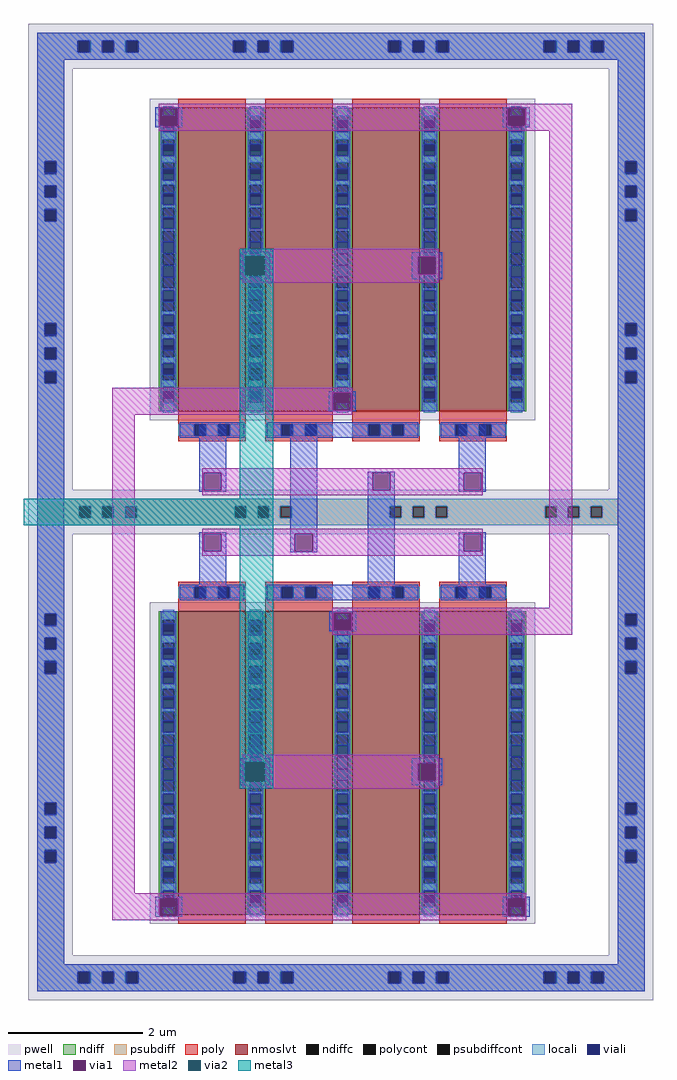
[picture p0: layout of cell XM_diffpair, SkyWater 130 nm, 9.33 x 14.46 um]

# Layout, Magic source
magic
tech sky130A
magscale 1 2
<< pwell >>
rect -346 1454 1506 1586
rect -346 206 -214 1454
rect 1374 206 1506 1454
rect -346 74 1506 206
rect -346 -1174 -214 74
rect 1374 -1174 1506 74
rect -346 -1306 1506 -1174
<< psubdiff >>
rect -320 1537 1480 1560
rect -320 1503 -195 1537
rect -161 1503 -127 1537
rect -93 1503 -59 1537
rect -25 1503 265 1537
rect 299 1503 333 1537
rect 367 1503 401 1537
rect 435 1503 725 1537
rect 759 1503 793 1537
rect 827 1503 861 1537
rect 895 1503 1185 1537
rect 1219 1503 1253 1537
rect 1287 1503 1321 1537
rect 1355 1503 1480 1537
rect -320 1480 1480 1503
rect -320 1175 -240 1480
rect -320 1141 -297 1175
rect -263 1141 -240 1175
rect -320 1107 -240 1141
rect -320 1073 -297 1107
rect -263 1073 -240 1107
rect -320 1039 -240 1073
rect -320 1005 -297 1039
rect -263 1005 -240 1039
rect -320 695 -240 1005
rect -320 661 -297 695
rect -263 661 -240 695
rect -320 627 -240 661
rect -320 593 -297 627
rect -263 593 -240 627
rect -320 559 -240 593
rect -320 525 -297 559
rect -263 525 -240 559
rect -320 180 -240 525
rect 1400 1175 1480 1480
rect 1400 1141 1423 1175
rect 1457 1141 1480 1175
rect 1400 1107 1480 1141
rect 1400 1073 1423 1107
rect 1457 1073 1480 1107
rect 1400 1039 1480 1073
rect 1400 1005 1423 1039
rect 1457 1005 1480 1039
rect 1400 695 1480 1005
rect 1400 661 1423 695
rect 1457 661 1480 695
rect 1400 627 1480 661
rect 1400 593 1423 627
rect 1457 593 1480 627
rect 1400 559 1480 593
rect 1400 525 1423 559
rect 1457 525 1480 559
rect 1400 180 1480 525
rect -320 157 1480 180
rect -320 123 -195 157
rect -161 123 -127 157
rect -93 123 -59 157
rect -25 123 265 157
rect 299 123 333 157
rect 367 123 401 157
rect 435 123 725 157
rect 759 123 793 157
rect 827 123 861 157
rect 895 123 1185 157
rect 1219 123 1253 157
rect 1287 123 1321 157
rect 1355 123 1480 157
rect -320 100 1480 123
rect -320 -165 -240 100
rect -320 -199 -297 -165
rect -263 -199 -240 -165
rect -320 -233 -240 -199
rect -320 -267 -297 -233
rect -263 -267 -240 -233
rect -320 -301 -240 -267
rect -320 -335 -297 -301
rect -263 -335 -240 -301
rect -320 -725 -240 -335
rect -320 -759 -297 -725
rect -263 -759 -240 -725
rect -320 -793 -240 -759
rect -320 -827 -297 -793
rect -263 -827 -240 -793
rect -320 -861 -240 -827
rect -320 -895 -297 -861
rect -263 -895 -240 -861
rect -320 -1200 -240 -895
rect 1400 -165 1480 100
rect 1400 -199 1423 -165
rect 1457 -199 1480 -165
rect 1400 -233 1480 -199
rect 1400 -267 1423 -233
rect 1457 -267 1480 -233
rect 1400 -301 1480 -267
rect 1400 -335 1423 -301
rect 1457 -335 1480 -301
rect 1400 -725 1480 -335
rect 1400 -759 1423 -725
rect 1457 -759 1480 -725
rect 1400 -793 1480 -759
rect 1400 -827 1423 -793
rect 1457 -827 1480 -793
rect 1400 -861 1480 -827
rect 1400 -895 1423 -861
rect 1457 -895 1480 -861
rect 1400 -1200 1480 -895
rect -320 -1223 1480 -1200
rect -320 -1257 -195 -1223
rect -161 -1257 -127 -1223
rect -93 -1257 -59 -1223
rect -25 -1257 265 -1223
rect 299 -1257 333 -1223
rect 367 -1257 401 -1223
rect 435 -1257 725 -1223
rect 759 -1257 793 -1223
rect 827 -1257 861 -1223
rect 895 -1257 1185 -1223
rect 1219 -1257 1253 -1223
rect 1287 -1257 1321 -1223
rect 1355 -1257 1480 -1223
rect -320 -1280 1480 -1257
<< psubdiffcont >>
rect -195 1503 -161 1537
rect -127 1503 -93 1537
rect -59 1503 -25 1537
rect 265 1503 299 1537
rect 333 1503 367 1537
rect 401 1503 435 1537
rect 725 1503 759 1537
rect 793 1503 827 1537
rect 861 1503 895 1537
rect 1185 1503 1219 1537
rect 1253 1503 1287 1537
rect 1321 1503 1355 1537
rect -297 1141 -263 1175
rect -297 1073 -263 1107
rect -297 1005 -263 1039
rect -297 661 -263 695
rect -297 593 -263 627
rect -297 525 -263 559
rect 1423 1141 1457 1175
rect 1423 1073 1457 1107
rect 1423 1005 1457 1039
rect 1423 661 1457 695
rect 1423 593 1457 627
rect 1423 525 1457 559
rect -195 123 -161 157
rect -127 123 -93 157
rect -59 123 -25 157
rect 265 123 299 157
rect 333 123 367 157
rect 401 123 435 157
rect 725 123 759 157
rect 793 123 827 157
rect 861 123 895 157
rect 1185 123 1219 157
rect 1253 123 1287 157
rect 1321 123 1355 157
rect -297 -199 -263 -165
rect -297 -267 -263 -233
rect -297 -335 -263 -301
rect -297 -759 -263 -725
rect -297 -827 -263 -793
rect -297 -895 -263 -861
rect 1423 -199 1457 -165
rect 1423 -267 1457 -233
rect 1423 -335 1457 -301
rect 1423 -759 1457 -725
rect 1423 -827 1457 -793
rect 1423 -895 1457 -861
rect -195 -1257 -161 -1223
rect -127 -1257 -93 -1223
rect -59 -1257 -25 -1223
rect 265 -1257 299 -1223
rect 333 -1257 367 -1223
rect 401 -1257 435 -1223
rect 725 -1257 759 -1223
rect 793 -1257 827 -1223
rect 861 -1257 895 -1223
rect 1185 -1257 1219 -1223
rect 1253 -1257 1287 -1223
rect 1321 -1257 1355 -1223
<< locali >>
rect -320 1537 1480 1560
rect -320 1503 -199 1537
rect -161 1503 -127 1537
rect -93 1503 -59 1537
rect -21 1503 261 1537
rect 299 1503 333 1537
rect 367 1503 401 1537
rect 439 1503 721 1537
rect 759 1503 793 1537
rect 827 1503 861 1537
rect 899 1503 1181 1537
rect 1219 1503 1253 1537
rect 1287 1503 1321 1537
rect 1359 1503 1480 1537
rect -320 1480 1480 1503
rect -320 1179 -240 1480
rect -320 1141 -297 1179
rect -263 1141 -240 1179
rect -320 1107 -240 1141
rect -320 1073 -297 1107
rect -263 1073 -240 1107
rect -320 1039 -240 1073
rect -320 1001 -297 1039
rect -263 1001 -240 1039
rect -320 699 -240 1001
rect -320 661 -297 699
rect -263 661 -240 699
rect -320 627 -240 661
rect -320 593 -297 627
rect -263 593 -240 627
rect -320 559 -240 593
rect -320 521 -297 559
rect -263 521 -240 559
rect -320 180 -240 521
rect 1400 1179 1480 1480
rect 1400 1141 1423 1179
rect 1457 1141 1480 1179
rect 1400 1107 1480 1141
rect 1400 1073 1423 1107
rect 1457 1073 1480 1107
rect 1400 1039 1480 1073
rect 1400 1001 1423 1039
rect 1457 1001 1480 1039
rect 1400 699 1480 1001
rect 1400 661 1423 699
rect 1457 661 1480 699
rect 1400 627 1480 661
rect 1400 593 1423 627
rect 1457 593 1480 627
rect 1400 559 1480 593
rect 1400 521 1423 559
rect 1457 521 1480 559
rect 1400 180 1480 521
rect -320 157 1480 180
rect -320 123 -195 157
rect -161 123 -127 157
rect -93 123 -59 157
rect -25 123 265 157
rect 299 123 333 157
rect 367 123 401 157
rect 435 123 725 157
rect 759 123 793 157
rect 827 123 861 157
rect 895 123 1185 157
rect 1219 123 1253 157
rect 1287 123 1321 157
rect 1355 123 1480 157
rect -320 100 1480 123
rect -320 -161 -240 100
rect -320 -199 -297 -161
rect -263 -199 -240 -161
rect -320 -233 -240 -199
rect -320 -267 -297 -233
rect -263 -267 -240 -233
rect -320 -301 -240 -267
rect -320 -339 -297 -301
rect -263 -339 -240 -301
rect -320 -721 -240 -339
rect -320 -759 -297 -721
rect -263 -759 -240 -721
rect -320 -793 -240 -759
rect -320 -827 -297 -793
rect -263 -827 -240 -793
rect -320 -861 -240 -827
rect -320 -899 -297 -861
rect -263 -899 -240 -861
rect -320 -1200 -240 -899
rect 1400 -161 1480 100
rect 1400 -199 1423 -161
rect 1457 -199 1480 -161
rect 1400 -233 1480 -199
rect 1400 -267 1423 -233
rect 1457 -267 1480 -233
rect 1400 -301 1480 -267
rect 1400 -339 1423 -301
rect 1457 -339 1480 -301
rect 1400 -721 1480 -339
rect 1400 -759 1423 -721
rect 1457 -759 1480 -721
rect 1400 -793 1480 -759
rect 1400 -827 1423 -793
rect 1457 -827 1480 -793
rect 1400 -861 1480 -827
rect 1400 -899 1423 -861
rect 1457 -899 1480 -861
rect 1400 -1200 1480 -899
rect -320 -1223 1480 -1200
rect -320 -1257 -199 -1223
rect -161 -1257 -127 -1223
rect -93 -1257 -59 -1223
rect -21 -1257 261 -1223
rect 299 -1257 333 -1223
rect 367 -1257 401 -1223
rect 439 -1257 721 -1223
rect 759 -1257 793 -1223
rect 827 -1257 861 -1223
rect 899 -1257 1181 -1223
rect 1219 -1257 1253 -1223
rect 1287 -1257 1321 -1223
rect 1359 -1257 1480 -1223
rect -320 -1280 1480 -1257
<< viali >>
rect -199 1503 -195 1537
rect -195 1503 -165 1537
rect -127 1503 -93 1537
rect -55 1503 -25 1537
rect -25 1503 -21 1537
rect 261 1503 265 1537
rect 265 1503 295 1537
rect 333 1503 367 1537
rect 405 1503 435 1537
rect 435 1503 439 1537
rect 721 1503 725 1537
rect 725 1503 755 1537
rect 793 1503 827 1537
rect 865 1503 895 1537
rect 895 1503 899 1537
rect 1181 1503 1185 1537
rect 1185 1503 1215 1537
rect 1253 1503 1287 1537
rect 1325 1503 1355 1537
rect 1355 1503 1359 1537
rect -297 1175 -263 1179
rect -297 1145 -263 1175
rect -297 1073 -263 1107
rect -297 1005 -263 1035
rect -297 1001 -263 1005
rect -297 695 -263 699
rect -297 665 -263 695
rect -297 593 -263 627
rect -297 525 -263 555
rect -297 521 -263 525
rect 1423 1175 1457 1179
rect 1423 1145 1457 1175
rect 1423 1073 1457 1107
rect 1423 1005 1457 1035
rect 1423 1001 1457 1005
rect 1423 695 1457 699
rect 1423 665 1457 695
rect 1423 593 1457 627
rect 1423 525 1457 555
rect 1423 521 1457 525
rect -297 -165 -263 -161
rect -297 -195 -263 -165
rect -297 -267 -263 -233
rect -297 -335 -263 -305
rect -297 -339 -263 -335
rect -297 -725 -263 -721
rect -297 -755 -263 -725
rect -297 -827 -263 -793
rect -297 -895 -263 -865
rect -297 -899 -263 -895
rect 1423 -165 1457 -161
rect 1423 -195 1457 -165
rect 1423 -267 1457 -233
rect 1423 -335 1457 -305
rect 1423 -339 1457 -335
rect 1423 -725 1457 -721
rect 1423 -755 1457 -725
rect 1423 -827 1457 -793
rect 1423 -895 1457 -865
rect 1423 -899 1457 -895
rect -199 -1257 -195 -1223
rect -195 -1257 -165 -1223
rect -127 -1257 -93 -1223
rect -55 -1257 -25 -1223
rect -25 -1257 -21 -1223
rect 261 -1257 265 -1223
rect 265 -1257 295 -1223
rect 333 -1257 367 -1223
rect 405 -1257 435 -1223
rect 435 -1257 439 -1223
rect 721 -1257 725 -1223
rect 725 -1257 755 -1223
rect 793 -1257 827 -1223
rect 865 -1257 895 -1223
rect 895 -1257 899 -1223
rect 1181 -1257 1185 -1223
rect 1185 -1257 1215 -1223
rect 1253 -1257 1287 -1223
rect 1325 -1257 1355 -1223
rect 1355 -1257 1359 -1223
<< metal1 >>
rect -320 1537 1480 1560
rect -320 1503 -199 1537
rect -165 1503 -127 1537
rect -93 1503 -55 1537
rect -21 1503 261 1537
rect 295 1503 333 1537
rect 367 1503 405 1537
rect 439 1503 721 1537
rect 755 1503 793 1537
rect 827 1503 865 1537
rect 899 1503 1181 1537
rect 1215 1503 1253 1537
rect 1287 1503 1325 1537
rect 1359 1503 1480 1537
rect -320 1480 1480 1503
rect -320 1179 -240 1480
rect 30 1336 110 1340
rect 30 1284 44 1336
rect 96 1284 110 1336
rect 30 1280 110 1284
rect 1060 1336 1140 1340
rect 1060 1284 1074 1336
rect 1126 1284 1140 1336
rect 1060 1280 1140 1284
rect -320 1145 -297 1179
rect -263 1145 -240 1179
rect -320 1107 -240 1145
rect -320 1073 -297 1107
rect -263 1073 -240 1107
rect -320 1035 -240 1073
rect -320 1001 -297 1035
rect -263 1001 -240 1035
rect -320 699 -240 1001
rect 1400 1179 1480 1480
rect 1400 1145 1423 1179
rect 1457 1145 1480 1179
rect 1400 1107 1480 1145
rect 1400 1073 1423 1107
rect 1457 1073 1480 1107
rect 1400 1035 1480 1073
rect 1400 1001 1423 1035
rect 1457 1001 1480 1035
rect 280 896 370 910
rect 280 844 299 896
rect 351 844 370 896
rect 280 830 370 844
rect 790 896 880 910
rect 790 844 809 896
rect 861 844 880 896
rect 790 830 880 844
rect -320 665 -297 699
rect -263 665 -240 699
rect -320 627 -240 665
rect -320 593 -297 627
rect -263 593 -240 627
rect -320 555 -240 593
rect -320 521 -297 555
rect -263 521 -240 555
rect -320 -161 -240 521
rect 1400 699 1480 1001
rect 1400 665 1423 699
rect 1457 665 1480 699
rect 1400 627 1480 665
rect 1400 593 1423 627
rect 1457 593 1480 627
rect 1400 555 1480 593
rect 1400 521 1423 555
rect 1457 521 1480 555
rect 544 494 624 498
rect 544 442 558 494
rect 610 442 624 494
rect 544 438 624 442
rect 160 256 240 400
rect 160 204 174 256
rect 226 204 240 256
rect 160 200 240 204
rect 160 76 240 80
rect 160 24 174 76
rect 226 24 240 76
rect 160 -120 240 24
rect 430 76 510 400
rect 551 360 619 406
rect 430 24 444 76
rect 496 24 510 76
rect 430 20 510 24
rect 660 256 740 260
rect 660 204 674 256
rect 726 204 740 256
rect 551 -122 619 -76
rect 660 -120 740 204
rect 930 256 1010 400
rect 930 204 944 256
rect 996 204 1010 256
rect 930 200 1010 204
rect 930 76 1010 80
rect 930 24 944 76
rect 996 24 1010 76
rect 930 -120 1010 24
rect -320 -195 -297 -161
rect -263 -195 -240 -161
rect -320 -233 -240 -195
rect 545 -158 625 -154
rect 545 -210 559 -158
rect 611 -210 625 -158
rect 545 -214 625 -210
rect 1400 -161 1480 521
rect 1400 -195 1423 -161
rect 1457 -195 1480 -161
rect -320 -267 -297 -233
rect -263 -267 -240 -233
rect -320 -305 -240 -267
rect -320 -339 -297 -305
rect -263 -339 -240 -305
rect -320 -721 -240 -339
rect 1400 -233 1480 -195
rect 1400 -267 1423 -233
rect 1457 -267 1480 -233
rect 1400 -305 1480 -267
rect 1400 -339 1423 -305
rect 1457 -339 1480 -305
rect 280 -604 370 -590
rect 280 -656 299 -604
rect 351 -656 370 -604
rect 280 -670 370 -656
rect 790 -604 880 -590
rect 790 -656 809 -604
rect 861 -656 880 -604
rect 790 -670 880 -656
rect -320 -755 -297 -721
rect -263 -755 -240 -721
rect -320 -793 -240 -755
rect -320 -827 -297 -793
rect -263 -827 -240 -793
rect -320 -865 -240 -827
rect -320 -899 -297 -865
rect -263 -899 -240 -865
rect -320 -1200 -240 -899
rect 1400 -721 1480 -339
rect 1400 -755 1423 -721
rect 1457 -755 1480 -721
rect 1400 -793 1480 -755
rect 1400 -827 1423 -793
rect 1457 -827 1480 -793
rect 1400 -865 1480 -827
rect 1400 -899 1423 -865
rect 1457 -899 1480 -865
rect 30 -1004 110 -1000
rect 30 -1056 44 -1004
rect 96 -1056 110 -1004
rect 30 -1060 110 -1056
rect 1060 -1004 1140 -1000
rect 1060 -1056 1074 -1004
rect 1126 -1056 1140 -1004
rect 1060 -1060 1140 -1056
rect 1400 -1200 1480 -899
rect -320 -1223 1480 -1200
rect -320 -1257 -199 -1223
rect -165 -1257 -127 -1223
rect -93 -1257 -55 -1223
rect -21 -1257 261 -1223
rect 295 -1257 333 -1223
rect 367 -1257 405 -1223
rect 439 -1257 721 -1223
rect 755 -1257 793 -1223
rect 827 -1257 865 -1223
rect 899 -1257 1181 -1223
rect 1215 -1257 1253 -1223
rect 1287 -1257 1325 -1223
rect 1359 -1257 1480 -1223
rect -320 -1280 1480 -1257
<< via1 >>
rect 44 1284 96 1336
rect 1074 1284 1126 1336
rect 299 844 351 896
rect 809 844 861 896
rect 558 442 610 494
rect 174 204 226 256
rect 174 24 226 76
rect 444 24 496 76
rect 674 204 726 256
rect 944 204 996 256
rect 944 24 996 76
rect 559 -210 611 -158
rect 299 -656 351 -604
rect 809 -656 861 -604
rect 44 -1056 96 -1004
rect 1074 -1056 1126 -1004
<< metal2 >>
rect 40 1336 1266 1350
rect 40 1284 44 1336
rect 96 1284 1074 1336
rect 1126 1284 1266 1336
rect 40 1270 1266 1284
rect 290 898 870 920
rect 290 842 297 898
rect 353 896 870 898
rect 353 844 809 896
rect 861 844 870 896
rect 353 842 870 844
rect 290 820 870 842
rect -98 494 614 508
rect -98 442 558 494
rect 610 442 614 494
rect -98 428 614 442
rect -98 -990 -30 428
rect 170 256 1000 270
rect 170 204 174 256
rect 226 204 674 256
rect 726 204 944 256
rect 996 204 1000 256
rect 170 190 1000 204
rect 170 76 1000 90
rect 170 24 174 76
rect 226 24 444 76
rect 496 24 944 76
rect 996 24 1000 76
rect 170 10 1000 24
rect 1198 -144 1266 1270
rect 554 -158 1266 -144
rect 554 -210 559 -158
rect 611 -210 1266 -158
rect 554 -224 1266 -210
rect 290 -602 870 -580
rect 290 -658 297 -602
rect 353 -604 870 -602
rect 353 -656 809 -604
rect 861 -656 870 -604
rect 353 -658 870 -656
rect 290 -680 870 -658
rect -98 -1004 1130 -990
rect -98 -1056 44 -1004
rect 96 -1056 1074 -1004
rect 1126 -1056 1130 -1004
rect -98 -1070 1130 -1056
<< via2 >>
rect 297 896 353 898
rect 297 844 299 896
rect 299 844 351 896
rect 351 844 353 896
rect 297 842 353 844
rect 297 -604 353 -602
rect 297 -656 299 -604
rect 299 -656 351 -604
rect 351 -656 353 -604
rect 297 -658 353 -656
<< metal3 >>
rect 280 898 380 920
rect 280 842 297 898
rect 353 842 380 898
rect 280 180 380 842
rect -360 100 380 180
rect 280 -602 380 100
rect 280 -658 297 -602
rect 353 -658 380 -602
rect 280 -680 380 -658
use sky130_fd_pr__nfet_01v8_lvt_A5VCMN  sky130_fd_pr__nfet_01v8_lvt_A5VCMN_0
transform 1 0 585 0 1 -573
box -571 -507 571 507
use sky130_fd_pr__nfet_01v8_lvt_E96B6C  sky130_fd_pr__nfet_01v8_lvt_E96B6C_0
transform 1 0 585 0 1 857
box -571 -507 571 507
<< end >>

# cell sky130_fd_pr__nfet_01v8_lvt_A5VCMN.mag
magic
tech sky130A
magscale 1 2
<< pwell >>
rect -571 -507 571 445
<< nmoslvt >>
rect -487 -481 -287 419
rect -229 -481 -29 419
rect 29 -481 229 419
rect 287 -481 487 419
<< ndiff >>
rect -545 394 -487 419
rect -545 360 -533 394
rect -499 360 -487 394
rect -545 326 -487 360
rect -545 292 -533 326
rect -499 292 -487 326
rect -545 258 -487 292
rect -545 224 -533 258
rect -499 224 -487 258
rect -545 190 -487 224
rect -545 156 -533 190
rect -499 156 -487 190
rect -545 122 -487 156
rect -545 88 -533 122
rect -499 88 -487 122
rect -545 54 -487 88
rect -545 20 -533 54
rect -499 20 -487 54
rect -545 -14 -487 20
rect -545 -48 -533 -14
rect -499 -48 -487 -14
rect -545 -82 -487 -48
rect -545 -116 -533 -82
rect -499 -116 -487 -82
rect -545 -150 -487 -116
rect -545 -184 -533 -150
rect -499 -184 -487 -150
rect -545 -218 -487 -184
rect -545 -252 -533 -218
rect -499 -252 -487 -218
rect -545 -286 -487 -252
rect -545 -320 -533 -286
rect -499 -320 -487 -286
rect -545 -354 -487 -320
rect -545 -388 -533 -354
rect -499 -388 -487 -354
rect -545 -422 -487 -388
rect -545 -456 -533 -422
rect -499 -456 -487 -422
rect -545 -481 -487 -456
rect -287 394 -229 419
rect -287 360 -275 394
rect -241 360 -229 394
rect -287 326 -229 360
rect -287 292 -275 326
rect -241 292 -229 326
rect -287 258 -229 292
rect -287 224 -275 258
rect -241 224 -229 258
rect -287 190 -229 224
rect -287 156 -275 190
rect -241 156 -229 190
rect -287 122 -229 156
rect -287 88 -275 122
rect -241 88 -229 122
rect -287 54 -229 88
rect -287 20 -275 54
rect -241 20 -229 54
rect -287 -14 -229 20
rect -287 -48 -275 -14
rect -241 -48 -229 -14
rect -287 -82 -229 -48
rect -287 -116 -275 -82
rect -241 -116 -229 -82
rect -287 -150 -229 -116
rect -287 -184 -275 -150
rect -241 -184 -229 -150
rect -287 -218 -229 -184
rect -287 -252 -275 -218
rect -241 -252 -229 -218
rect -287 -286 -229 -252
rect -287 -320 -275 -286
rect -241 -320 -229 -286
rect -287 -354 -229 -320
rect -287 -388 -275 -354
rect -241 -388 -229 -354
rect -287 -422 -229 -388
rect -287 -456 -275 -422
rect -241 -456 -229 -422
rect -287 -481 -229 -456
rect -29 394 29 419
rect -29 360 -17 394
rect 17 360 29 394
rect -29 326 29 360
rect -29 292 -17 326
rect 17 292 29 326
rect -29 258 29 292
rect -29 224 -17 258
rect 17 224 29 258
rect -29 190 29 224
rect -29 156 -17 190
rect 17 156 29 190
rect -29 122 29 156
rect -29 88 -17 122
rect 17 88 29 122
rect -29 54 29 88
rect -29 20 -17 54
rect 17 20 29 54
rect -29 -14 29 20
rect -29 -48 -17 -14
rect 17 -48 29 -14
rect -29 -82 29 -48
rect -29 -116 -17 -82
rect 17 -116 29 -82
rect -29 -150 29 -116
rect -29 -184 -17 -150
rect 17 -184 29 -150
rect -29 -218 29 -184
rect -29 -252 -17 -218
rect 17 -252 29 -218
rect -29 -286 29 -252
rect -29 -320 -17 -286
rect 17 -320 29 -286
rect -29 -354 29 -320
rect -29 -388 -17 -354
rect 17 -388 29 -354
rect -29 -422 29 -388
rect -29 -456 -17 -422
rect 17 -456 29 -422
rect -29 -481 29 -456
rect 229 394 287 419
rect 229 360 241 394
rect 275 360 287 394
rect 229 326 287 360
rect 229 292 241 326
rect 275 292 287 326
rect 229 258 287 292
rect 229 224 241 258
rect 275 224 287 258
rect 229 190 287 224
rect 229 156 241 190
rect 275 156 287 190
rect 229 122 287 156
rect 229 88 241 122
rect 275 88 287 122
rect 229 54 287 88
rect 229 20 241 54
rect 275 20 287 54
rect 229 -14 287 20
rect 229 -48 241 -14
rect 275 -48 287 -14
rect 229 -82 287 -48
rect 229 -116 241 -82
rect 275 -116 287 -82
rect 229 -150 287 -116
rect 229 -184 241 -150
rect 275 -184 287 -150
rect 229 -218 287 -184
rect 229 -252 241 -218
rect 275 -252 287 -218
rect 229 -286 287 -252
rect 229 -320 241 -286
rect 275 -320 287 -286
rect 229 -354 287 -320
rect 229 -388 241 -354
rect 275 -388 287 -354
rect 229 -422 287 -388
rect 229 -456 241 -422
rect 275 -456 287 -422
rect 229 -481 287 -456
rect 487 394 545 419
rect 487 360 499 394
rect 533 360 545 394
rect 487 326 545 360
rect 487 292 499 326
rect 533 292 545 326
rect 487 258 545 292
rect 487 224 499 258
rect 533 224 545 258
rect 487 190 545 224
rect 487 156 499 190
rect 533 156 545 190
rect 487 122 545 156
rect 487 88 499 122
rect 533 88 545 122
rect 487 54 545 88
rect 487 20 499 54
rect 533 20 545 54
rect 487 -14 545 20
rect 487 -48 499 -14
rect 533 -48 545 -14
rect 487 -82 545 -48
rect 487 -116 499 -82
rect 533 -116 545 -82
rect 487 -150 545 -116
rect 487 -184 499 -150
rect 533 -184 545 -150
rect 487 -218 545 -184
rect 487 -252 499 -218
rect 533 -252 545 -218
rect 487 -286 545 -252
rect 487 -320 499 -286
rect 533 -320 545 -286
rect 487 -354 545 -320
rect 487 -388 499 -354
rect 533 -388 545 -354
rect 487 -422 545 -388
rect 487 -456 499 -422
rect 533 -456 545 -422
rect 487 -481 545 -456
<< ndiffc >>
rect -533 360 -499 394
rect -533 292 -499 326
rect -533 224 -499 258
rect -533 156 -499 190
rect -533 88 -499 122
rect -533 20 -499 54
rect -533 -48 -499 -14
rect -533 -116 -499 -82
rect -533 -184 -499 -150
rect -533 -252 -499 -218
rect -533 -320 -499 -286
rect -533 -388 -499 -354
rect -533 -456 -499 -422
rect -275 360 -241 394
rect -275 292 -241 326
rect -275 224 -241 258
rect -275 156 -241 190
rect -275 88 -241 122
rect -275 20 -241 54
rect -275 -48 -241 -14
rect -275 -116 -241 -82
rect -275 -184 -241 -150
rect -275 -252 -241 -218
rect -275 -320 -241 -286
rect -275 -388 -241 -354
rect -275 -456 -241 -422
rect -17 360 17 394
rect -17 292 17 326
rect -17 224 17 258
rect -17 156 17 190
rect -17 88 17 122
rect -17 20 17 54
rect -17 -48 17 -14
rect -17 -116 17 -82
rect -17 -184 17 -150
rect -17 -252 17 -218
rect -17 -320 17 -286
rect -17 -388 17 -354
rect -17 -456 17 -422
rect 241 360 275 394
rect 241 292 275 326
rect 241 224 275 258
rect 241 156 275 190
rect 241 88 275 122
rect 241 20 275 54
rect 241 -48 275 -14
rect 241 -116 275 -82
rect 241 -184 275 -150
rect 241 -252 275 -218
rect 241 -320 275 -286
rect 241 -388 275 -354
rect 241 -456 275 -422
rect 499 360 533 394
rect 499 292 533 326
rect 499 224 533 258
rect 499 156 533 190
rect 499 88 533 122
rect 499 20 533 54
rect 499 -48 533 -14
rect 499 -116 533 -82
rect 499 -184 533 -150
rect 499 -252 533 -218
rect 499 -320 533 -286
rect 499 -388 533 -354
rect 499 -456 533 -422
<< poly >>
rect -487 491 -287 507
rect -487 457 -438 491
rect -404 457 -370 491
rect -336 457 -287 491
rect -487 419 -287 457
rect -229 491 -29 507
rect -229 457 -180 491
rect -146 457 -112 491
rect -78 457 -29 491
rect -229 419 -29 457
rect 29 491 229 507
rect 29 457 78 491
rect 112 457 146 491
rect 180 457 229 491
rect 29 419 229 457
rect 287 491 487 507
rect 287 457 336 491
rect 370 457 404 491
rect 438 457 487 491
rect 287 419 487 457
rect -487 -507 -287 -481
rect -229 -507 -29 -481
rect 29 -507 229 -481
rect 287 -507 487 -481
<< polycont >>
rect -438 457 -404 491
rect -370 457 -336 491
rect -180 457 -146 491
rect -112 457 -78 491
rect 78 457 112 491
rect 146 457 180 491
rect 336 457 370 491
rect 404 457 438 491
<< locali >>
rect -487 457 -440 491
rect -404 457 -370 491
rect -334 457 -287 491
rect -229 457 -182 491
rect -146 457 -112 491
rect -76 457 -29 491
rect 29 457 76 491
rect 112 457 146 491
rect 182 457 229 491
rect 287 457 334 491
rect 370 457 404 491
rect 440 457 487 491
rect -533 394 -499 423
rect -533 326 -499 348
rect -533 258 -499 276
rect -533 190 -499 204
rect -533 122 -499 132
rect -533 54 -499 60
rect -533 -14 -499 -12
rect -533 -50 -499 -48
rect -533 -122 -499 -116
rect -533 -194 -499 -184
rect -533 -266 -499 -252
rect -533 -338 -499 -320
rect -533 -410 -499 -388
rect -533 -485 -499 -456
rect -275 394 -241 423
rect -275 326 -241 348
rect -275 258 -241 276
rect -275 190 -241 204
rect -275 122 -241 132
rect -275 54 -241 60
rect -275 -14 -241 -12
rect -275 -50 -241 -48
rect -275 -122 -241 -116
rect -275 -194 -241 -184
rect -275 -266 -241 -252
rect -275 -338 -241 -320
rect -275 -410 -241 -388
rect -275 -485 -241 -456
rect -17 394 17 423
rect -17 326 17 348
rect -17 258 17 276
rect -17 190 17 204
rect -17 122 17 132
rect -17 54 17 60
rect -17 -14 17 -12
rect -17 -50 17 -48
rect -17 -122 17 -116
rect -17 -194 17 -184
rect -17 -266 17 -252
rect -17 -338 17 -320
rect -17 -410 17 -388
rect -17 -485 17 -456
rect 241 394 275 423
rect 241 326 275 348
rect 241 258 275 276
rect 241 190 275 204
rect 241 122 275 132
rect 241 54 275 60
rect 241 -14 275 -12
rect 241 -50 275 -48
rect 241 -122 275 -116
rect 241 -194 275 -184
rect 241 -266 275 -252
rect 241 -338 275 -320
rect 241 -410 275 -388
rect 241 -485 275 -456
rect 499 394 533 423
rect 499 326 533 348
rect 499 258 533 276
rect 499 190 533 204
rect 499 122 533 132
rect 499 54 533 60
rect 499 -14 533 -12
rect 499 -50 533 -48
rect 499 -122 533 -116
rect 499 -194 533 -184
rect 499 -266 533 -252
rect 499 -338 533 -320
rect 499 -410 533 -388
rect 499 -485 533 -456
<< viali >>
rect -440 457 -438 491
rect -438 457 -406 491
rect -368 457 -336 491
rect -336 457 -334 491
rect -182 457 -180 491
rect -180 457 -148 491
rect -110 457 -78 491
rect -78 457 -76 491
rect 76 457 78 491
rect 78 457 110 491
rect 148 457 180 491
rect 180 457 182 491
rect 334 457 336 491
rect 336 457 368 491
rect 406 457 438 491
rect 438 457 440 491
rect -533 360 -499 382
rect -533 348 -499 360
rect -533 292 -499 310
rect -533 276 -499 292
rect -533 224 -499 238
rect -533 204 -499 224
rect -533 156 -499 166
rect -533 132 -499 156
rect -533 88 -499 94
rect -533 60 -499 88
rect -533 20 -499 22
rect -533 -12 -499 20
rect -533 -82 -499 -50
rect -533 -84 -499 -82
rect -533 -150 -499 -122
rect -533 -156 -499 -150
rect -533 -218 -499 -194
rect -533 -228 -499 -218
rect -533 -286 -499 -266
rect -533 -300 -499 -286
rect -533 -354 -499 -338
rect -533 -372 -499 -354
rect -533 -422 -499 -410
rect -533 -444 -499 -422
rect -275 360 -241 382
rect -275 348 -241 360
rect -275 292 -241 310
rect -275 276 -241 292
rect -275 224 -241 238
rect -275 204 -241 224
rect -275 156 -241 166
rect -275 132 -241 156
rect -275 88 -241 94
rect -275 60 -241 88
rect -275 20 -241 22
rect -275 -12 -241 20
rect -275 -82 -241 -50
rect -275 -84 -241 -82
rect -275 -150 -241 -122
rect -275 -156 -241 -150
rect -275 -218 -241 -194
rect -275 -228 -241 -218
rect -275 -286 -241 -266
rect -275 -300 -241 -286
rect -275 -354 -241 -338
rect -275 -372 -241 -354
rect -275 -422 -241 -410
rect -275 -444 -241 -422
rect -17 360 17 382
rect -17 348 17 360
rect -17 292 17 310
rect -17 276 17 292
rect -17 224 17 238
rect -17 204 17 224
rect -17 156 17 166
rect -17 132 17 156
rect -17 88 17 94
rect -17 60 17 88
rect -17 20 17 22
rect -17 -12 17 20
rect -17 -82 17 -50
rect -17 -84 17 -82
rect -17 -150 17 -122
rect -17 -156 17 -150
rect -17 -218 17 -194
rect -17 -228 17 -218
rect -17 -286 17 -266
rect -17 -300 17 -286
rect -17 -354 17 -338
rect -17 -372 17 -354
rect -17 -422 17 -410
rect -17 -444 17 -422
rect 241 360 275 382
rect 241 348 275 360
rect 241 292 275 310
rect 241 276 275 292
rect 241 224 275 238
rect 241 204 275 224
rect 241 156 275 166
rect 241 132 275 156
rect 241 88 275 94
rect 241 60 275 88
rect 241 20 275 22
rect 241 -12 275 20
rect 241 -82 275 -50
rect 241 -84 275 -82
rect 241 -150 275 -122
rect 241 -156 275 -150
rect 241 -218 275 -194
rect 241 -228 275 -218
rect 241 -286 275 -266
rect 241 -300 275 -286
rect 241 -354 275 -338
rect 241 -372 275 -354
rect 241 -422 275 -410
rect 241 -444 275 -422
rect 499 360 533 382
rect 499 348 533 360
rect 499 292 533 310
rect 499 276 533 292
rect 499 224 533 238
rect 499 204 533 224
rect 499 156 533 166
rect 499 132 533 156
rect 499 88 533 94
rect 499 60 533 88
rect 499 20 533 22
rect 499 -12 533 20
rect 499 -82 533 -50
rect 499 -84 533 -82
rect 499 -150 533 -122
rect 499 -156 533 -150
rect 499 -218 533 -194
rect 499 -228 533 -218
rect 499 -286 533 -266
rect 499 -300 533 -286
rect 499 -354 533 -338
rect 499 -372 533 -354
rect 499 -422 533 -410
rect 499 -444 533 -422
<< metal1 >>
rect -483 491 -291 497
rect -483 457 -440 491
rect -406 457 -368 491
rect -334 457 -291 491
rect -483 451 -291 457
rect -225 491 -33 497
rect -225 457 -182 491
rect -148 457 -110 491
rect -76 457 -33 491
rect -225 451 -33 457
rect 33 491 225 497
rect 33 457 76 491
rect 110 457 148 491
rect 182 457 225 491
rect 33 451 225 457
rect 291 491 483 497
rect 291 457 334 491
rect 368 457 406 491
rect 440 457 483 491
rect 291 451 483 457
rect -539 382 -493 419
rect -539 348 -533 382
rect -499 348 -493 382
rect -539 310 -493 348
rect -539 276 -533 310
rect -499 276 -493 310
rect -539 238 -493 276
rect -539 204 -533 238
rect -499 204 -493 238
rect -539 166 -493 204
rect -539 132 -533 166
rect -499 132 -493 166
rect -539 94 -493 132
rect -539 60 -533 94
rect -499 60 -493 94
rect -539 22 -493 60
rect -539 -12 -533 22
rect -499 -12 -493 22
rect -539 -50 -493 -12
rect -539 -84 -533 -50
rect -499 -84 -493 -50
rect -539 -122 -493 -84
rect -539 -156 -533 -122
rect -499 -156 -493 -122
rect -539 -194 -493 -156
rect -539 -228 -533 -194
rect -499 -228 -493 -194
rect -539 -266 -493 -228
rect -539 -300 -533 -266
rect -499 -300 -493 -266
rect -539 -338 -493 -300
rect -539 -372 -533 -338
rect -499 -372 -493 -338
rect -539 -410 -493 -372
rect -539 -444 -533 -410
rect -499 -444 -493 -410
rect -539 -481 -493 -444
rect -281 382 -235 419
rect -281 348 -275 382
rect -241 348 -235 382
rect -281 310 -235 348
rect -281 276 -275 310
rect -241 276 -235 310
rect -281 238 -235 276
rect -281 204 -275 238
rect -241 204 -235 238
rect -281 166 -235 204
rect -281 132 -275 166
rect -241 132 -235 166
rect -281 94 -235 132
rect -281 60 -275 94
rect -241 60 -235 94
rect -281 22 -235 60
rect -281 -12 -275 22
rect -241 -12 -235 22
rect -281 -50 -235 -12
rect -281 -84 -275 -50
rect -241 -84 -235 -50
rect -281 -122 -235 -84
rect -281 -156 -275 -122
rect -241 -156 -235 -122
rect -281 -194 -235 -156
rect -281 -228 -275 -194
rect -241 -228 -235 -194
rect -281 -266 -235 -228
rect -281 -300 -275 -266
rect -241 -300 -235 -266
rect -281 -338 -235 -300
rect -281 -372 -275 -338
rect -241 -372 -235 -338
rect -281 -410 -235 -372
rect -281 -444 -275 -410
rect -241 -444 -235 -410
rect -281 -481 -235 -444
rect -23 382 23 419
rect -23 348 -17 382
rect 17 348 23 382
rect -23 310 23 348
rect -23 276 -17 310
rect 17 276 23 310
rect -23 238 23 276
rect -23 204 -17 238
rect 17 204 23 238
rect -23 166 23 204
rect -23 132 -17 166
rect 17 132 23 166
rect -23 94 23 132
rect -23 60 -17 94
rect 17 60 23 94
rect -23 22 23 60
rect -23 -12 -17 22
rect 17 -12 23 22
rect -23 -50 23 -12
rect -23 -84 -17 -50
rect 17 -84 23 -50
rect -23 -122 23 -84
rect -23 -156 -17 -122
rect 17 -156 23 -122
rect -23 -194 23 -156
rect -23 -228 -17 -194
rect 17 -228 23 -194
rect -23 -266 23 -228
rect -23 -300 -17 -266
rect 17 -300 23 -266
rect -23 -338 23 -300
rect -23 -372 -17 -338
rect 17 -372 23 -338
rect -23 -410 23 -372
rect -23 -444 -17 -410
rect 17 -444 23 -410
rect -23 -481 23 -444
rect 235 382 281 419
rect 235 348 241 382
rect 275 348 281 382
rect 235 310 281 348
rect 235 276 241 310
rect 275 276 281 310
rect 235 238 281 276
rect 235 204 241 238
rect 275 204 281 238
rect 235 166 281 204
rect 235 132 241 166
rect 275 132 281 166
rect 235 94 281 132
rect 235 60 241 94
rect 275 60 281 94
rect 235 22 281 60
rect 235 -12 241 22
rect 275 -12 281 22
rect 235 -50 281 -12
rect 235 -84 241 -50
rect 275 -84 281 -50
rect 235 -122 281 -84
rect 235 -156 241 -122
rect 275 -156 281 -122
rect 235 -194 281 -156
rect 235 -228 241 -194
rect 275 -228 281 -194
rect 235 -266 281 -228
rect 235 -300 241 -266
rect 275 -300 281 -266
rect 235 -338 281 -300
rect 235 -372 241 -338
rect 275 -372 281 -338
rect 235 -410 281 -372
rect 235 -444 241 -410
rect 275 -444 281 -410
rect 235 -481 281 -444
rect 493 382 539 419
rect 493 348 499 382
rect 533 348 539 382
rect 493 310 539 348
rect 493 276 499 310
rect 533 276 539 310
rect 493 238 539 276
rect 493 204 499 238
rect 533 204 539 238
rect 493 166 539 204
rect 493 132 499 166
rect 533 132 539 166
rect 493 94 539 132
rect 493 60 499 94
rect 533 60 539 94
rect 493 22 539 60
rect 493 -12 499 22
rect 533 -12 539 22
rect 493 -50 539 -12
rect 493 -84 499 -50
rect 533 -84 539 -50
rect 493 -122 539 -84
rect 493 -156 499 -122
rect 533 -156 539 -122
rect 493 -194 539 -156
rect 493 -228 499 -194
rect 533 -228 539 -194
rect 493 -266 539 -228
rect 493 -300 499 -266
rect 533 -300 539 -266
rect 493 -338 539 -300
rect 493 -372 499 -338
rect 533 -372 539 -338
rect 493 -410 539 -372
rect 493 -444 499 -410
rect 533 -444 539 -410
rect 493 -481 539 -444
<< end >>

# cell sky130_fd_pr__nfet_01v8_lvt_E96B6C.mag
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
